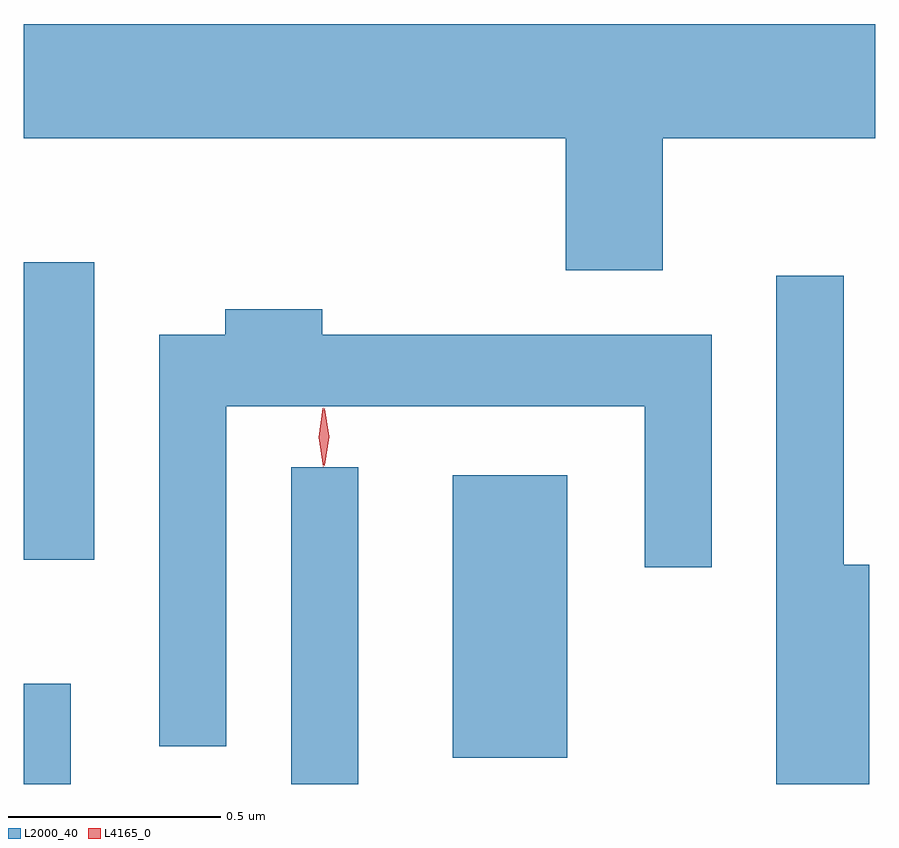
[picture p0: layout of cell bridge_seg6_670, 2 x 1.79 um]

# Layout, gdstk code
import gdstk
lib = gdstk.Library(unit=1e-6, precision=1e-09)
def R(c, l, rs):  # rectangles x0, y0, x1, y1
    for r in rs: c.add(gdstk.rectangle(r[:2], r[2:], *l))
def P(c, l, *ps):  # polygons
    for p in ps: c.add(gdstk.Polygon(p, *l))
L2000_40 = (2000, 40)
L4165_0 = (4165, 0)

bridge_seg6_670 = lib.new_cell('bridge_seg6_670')
R(bridge_seg6_670, L2000_40, [(309.338,1635.099,309.449,1635.334), (309.966,1635.099,310.124,1635.843), (310.346,1635.161,310.614,1635.824), (309.338,1635.626,309.504,1636.324)])
P(bridge_seg6_670, L2000_40, [(310.839,1636.616),(311.338,1636.616),(311.338,1636.884),(309.338,1636.884),(309.338,1636.616),(310.611,1636.616),(310.611,1636.306),(310.839,1636.306)],
  [(311.324,1635.614),(311.264,1635.614),(311.264,1636.293),(311.106,1636.293),(311.106,1635.099),(311.324,1635.099)],
  [(309.814,1635.986),(310.796,1635.986),(310.796,1635.608),(310.954,1635.608),(310.954,1636.154),(310.039,1636.154),(310.039,1636.214),(309.811,1636.214),(309.811,1636.154),(309.656,1636.154),(309.656,1635.188),(309.814,1635.188)])
P(bridge_seg6_670, L4165_0, [(310.041,1635.843),(310.041,1635.844),(310.031,1635.913),(310.04,1635.982),(310.041,1635.983),(310.041,1635.982),(310.051,1635.913),(310.042,1635.844)],
  [(310.045,1635.847),(310.044,1635.848),(310.035,1635.914),(310.044,1635.98),(310.045,1635.981),(310.045,1635.98),(310.055,1635.914),(310.045,1635.848)])

lib.write_gds('bridge_seg6_670.gds')
